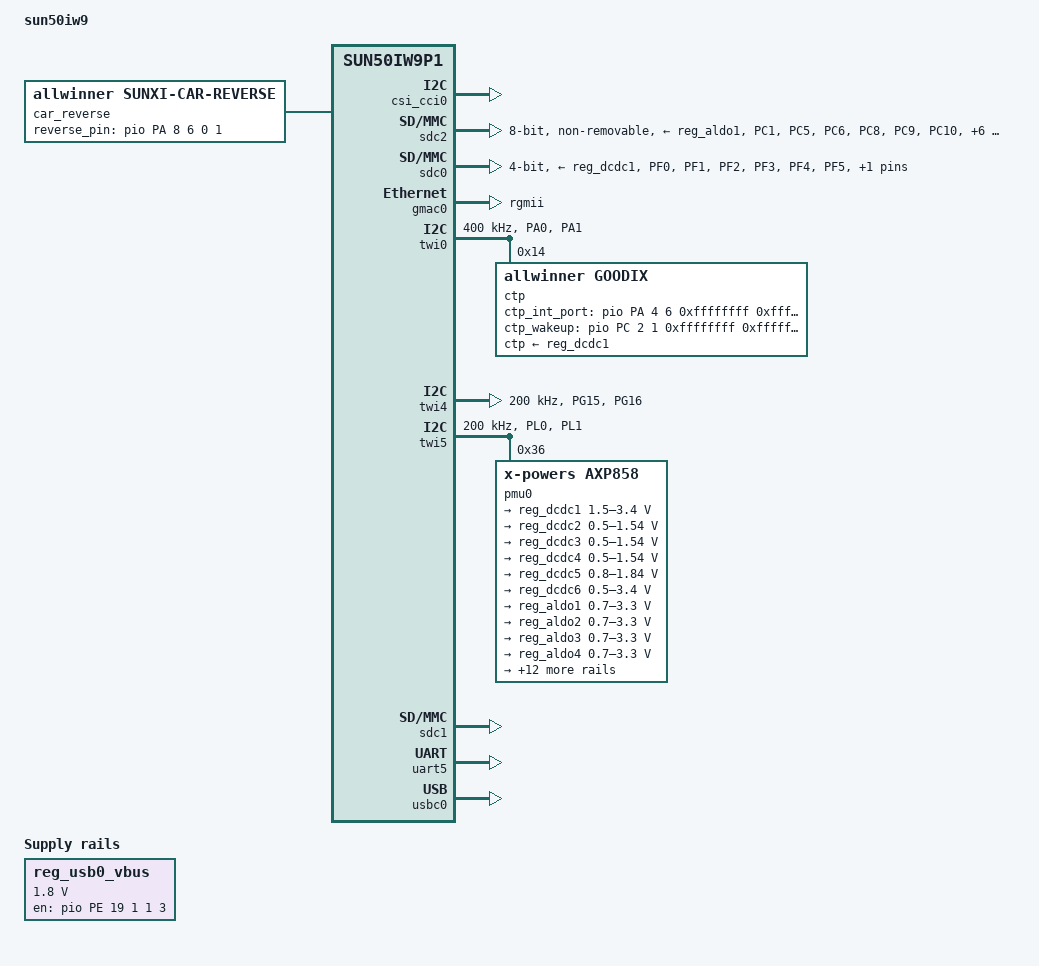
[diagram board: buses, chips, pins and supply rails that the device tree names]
/*
 * Allwinner Technology CO., Ltd. sun8iw19p1 soc board.
 *
 * soc board support.
 */

/dts-v1/;

#include "NL_sun50iw9p1.dtsi"

/{
	model = "sun50iw9";
	compatible = "allwinner,t507", "arm,sun50iw9p1";

	reg_usb0_vbus: usb0-vbus {
		compatible = "regulator-fixed";
		gpio = <&pio PE 19 1 1 3 1>;
		regulator-name = "usb-vbus";
		regulator-min-microvolt = <1800000>;//1800000
		regulator-max-microvolt = <1800000>;//1800000
		enable-active-high;
		status = "okay";
	};

	soc@03000000 {

		r_pio: pinctrl@07022000 {

			s_twi0_pins_a: s_twi0@0 {//PMU I2C
				allwinner,pins = "PL0", "PL1";
				allwinner,pname = "s_twi0_scl", "s_twi0_sda";
				allwinner,function = "s_twi0";
				allwinner,muxsel = <3>;
				allwinner,drive = <0>;
				allwinner,pull = <1>;
			};

			s_twi0_pins_b: s_twi0@1 {
				allwinner,pins = "PL0", "PL1";
				allwinner,function = "io_disabled";
				allwinner,muxsel = <7>;
				allwinner,drive = <0>;
				allwinner,pull = <0>;
			};
		};	

		pio: pinctrl@0300b000 {

			/* takes the debounce time in usec as argument */
			input-debounce = <0 0 0 0 0 0 1>;

			twi0_pins_a: twi0@0 {
				allwinner,pins = "PA0", "PA1";
				allwinner,pname = "twi0_scl", "twi0_sda";
				allwinner,function = "twi0";
				allwinner,muxsel = <4>;
				allwinner,drive = <0>;
				allwinner,pull = <0>;
			};

			twi0_pins_b: twi0@1 {
				allwinner,pins = "PA0", "PA1";
				allwinner,function = "io_disabled";
				allwinner,muxsel = <7>;
				allwinner,drive = <0>;
				allwinner,pull = <0>;
			};

			twi4_pins_a: twi4@0 {
				allwinner,pins = "PG15", "PG16";
				allwinner,pname = "twi4_scl", "twi4_sda";
				allwinner,function = "twi4";
				allwinner,muxsel = <5>;
				allwinner,drive = <0>;
				allwinner,pull = <0>;
			};

			twi4_pins_b: twi4@1 {
				allwinner,pins = "PG15", "PG16";
				allwinner,function = "io_disabled";
				allwinner,muxsel = <7>;
				allwinner,drive = <0>;
				allwinner,pull = <0>;
			};

			scr0_pins_a: scr0@0 {
				allwinner,pins = "PD17", "PD18", "PD14", "PD15", "PD16";
				allwinner,pname = "scr0_rst", "scr0_det", "scr0_vccen", "scr0_sck", "scr0_sda";
			};

			sdc0_pins_a: sdc0@0 {
				allwinner,pins = "PF0", "PF1", "PF2",
						 "PF3", "PF4", "PF5";
				allwinner,function = "sdc0";
				allwinner,muxsel = <2>;
				allwinner,drive = <3>;
				allwinner,pull = <1>;
			};

			sdc0_pins_c: sdc0@2 {
				allwinner,pins = "PF0", "PF1",
						 "PF3", "PF5";
				allwinner,function = "uart0_jtag";
				allwinner,muxsel = <3>;
				allwinner,drive = <1>;
				allwinner,pull = <1>;
			};



			sdc2_pins_a: sdc2@0 {
				allwinner,pins = "PC1", "PC5", "PC6",
						 "PC8", "PC9", "PC10", "PC11",
						 "PC13", "PC14", "PC15", "PC16";
				allwinner,function = "sdc2";
				allwinner,muxsel = <3>;
				allwinner,drive = <2>;
				allwinner,pull = <1>;
			};

			sdc2_pins_b: sdc2@1 {
				allwinner,pins = "PC0", "PC1", "PC5", "PC6",
						 "PC8", "PC9", "PC10", "PC11",
						 "PC13", "PC14", "PC15", "PC16";
				allwinner,function = "io_disabled";
				allwinner,muxsel = <7>;
				allwinner,drive = <1>;
				allwinner,pull = <1>;
			};

			sdc2_pins_c: sdc2@2 {
				allwinner,pins = "PC0";
				allwinner,function = "sdc2";
				allwinner,muxsel = <3>;
				allwinner,drive = <2>;
				allwinner,pull = <2>;
			};

			pwm0_pin_a: pwm0@0 {
				allwinner,pins = "PD28";
				allwinner,function = "pwm0";
				allwinner,muxsel = <0x02>;
				allwinner,drive = <0xffffffff>;
				allwinner,pull = <0>;
				allwinner,data = <0xffffffff>;
			};

			pwm0_pin_b: pwm0@1 {
				allwinner,pins = "PD28";
				allwinner,function = "io_disabled";
				allwinner,muxsel = <0x07>;
				allwinner,drive = <0xffffffff>;
				allwinner,pull = <0>;
				allwinner,data = <0xffffffff>;
			};
			pwm2_pin_a: pwm2@0 {
				allwinner,pins = "PI12";
				allwinner,function = "pwm2";
				allwinner,muxsel = <0x05>;
				allwinner,drive = <0xffffffff>;
				allwinner,pull = <0>;
				allwinner,data = <0xffffffff>;
			};

			pwm2_pin_b: pwm2@1 {
				allwinner,pins = "PI12";
				allwinner,function = "io_disabled";
				allwinner,muxsel = <0x07>;
				allwinner,drive = <0xffffffff>;
				allwinner,pull = <0>;
				allwinner,data = <0xffffffff>;
			};
		};
	
			/*--------------------------------------------------------------------------------
			vin (video input modules) configuration
			vind(x)_used: 0:disable 1:enable, main node for vin
			csi(x)_used: 0:disable 1:enable
			flash(x)_used: 0:disable 1:enable
			flash(x)_type: 0:FLASH_RELATING, 1:FLASH_EN_INDEPEND, 2:FLASH_POWER
			flash(x)_en: flash enable gpio, type = 0 of 1
			flash(x)_mode: flash mode gpio, type = 0 of 1
			flash(x)_flvdd: flash module io power handle string, pmu power supply, type = 2
			flash(x)_flvdd_vol: flash module io power voltage, pmu power supply, type = 2
			actuator(x)_used: 0:disable 1:enable
			actuator(x)_name: vcm name
			actuator(x)_slave: vcm iic slave address
			actuator(x)_af_pwdn: vcm power down gpio
			actuator(x)_afvdd: vcm power handle string, pmu power supply
			actuator(x)_afvdd_vol: vcm power voltage, pmu power supply
			sensor(x)_used: 0:disable 1:enable
			sensor(x)_isp_used 0:not use isp 1:use isp
			sensor(x)_fmt: 0:yuv 1:bayer raw rgb
			sensor(x)_stby_mode: 0:not shut down power at standby 1:shut down power at standby
			sensor(x)_vflip: flip in vertical direction 0:disable 1:enable
			sensor(x)_hflip: flip in horizontal direction 0:disable 1:enable
			sensor(x)_cameravdd-supply: camera module power handle string, pmu power supply
			sensor(x)_cameravdd_vol: camera module power voltage, pmu power supply
			sensor(x)_iovdd-supply: camera module io power handle string, pmu power supply
			sensor(x)_iovdd_vol: camera module io power voltage, pmu power supply
			sensor(x)_avdd-supply: camera module analog power handle string, pmu power supply
			sensor(x)_avdd_vol: camera module analog power voltage, pmu power supply
			sensor(x)_dvdd-supply: camera module core power handle string, pmu power supply
			sensor(x)_dvdd_vol: camera module core power voltage, pmu power supply
			sensor(x)_power_en: camera module power enable gpio
			sensor(x)_reset: camera module reset gpio
			sensor(x)_pwdn: camera module pwdn gpio
			fill voltage in uV, e.g. iovdd = 2.8V, sensorx_iovdd_vol = 2800000
			fill handle string as below:
			<&reg_bldo3>
			<&reg_bldo4>
			<&reg_bldo5>
			fill handle string "" when not using any pmu power supply
			vinc(x)_used: 0:disable 1:enable
			vinc(x)_sensor_list: use sensor list
			--------------------------------------------------------------------------------*/
			vind0:vind@0 {
			vind0_clk = <324000000>;
			status = "okay";

			csi_cci0:cci@0 {
				status = "okay";
			};
			sensor0:sensor@0 {
				device_type = "sensor0";
				sensor0_mname = "rn6864m_mipi";//4CH BT656
				sensor0_twi_cci_id = <0>;
				sensor0_twi_addr = <0x5a>;// 
				sensor0_mclk_id = <0>;
				sensor0_pos = "rear";
				sensor0_isp_used = <1>;
				sensor0_fmt = <0>;
				sensor0_stby_mode = <0>;
				sensor0_vflip = <1>;//00
				sensor0_hflip = <0>;//00
				sensor0_reset = <&pio PA 7 1 0 1 0>;//qwb change
				sensor0_pwdn  = <&pio PA 6 1 0 1 0>;//qwb change
				status	= "okay";
			};
		
			vinc0:vinc@0 {
				vinc0_csi_sel = <0>;
				vinc0_mipi_sel = <0>;
				vinc0_isp_sel = <0>;
				vinc0_isp_tx_ch = <0>;
				vinc0_rear_sensor_sel = <0>;
				vinc0_front_sensor_sel = <0>;
				vinc0_sensor_list = <0>;
				status = "okay";
			};
			vinc1:vinc@1 {
				vinc1_csi_sel = <0>;
				vinc1_mipi_sel = <0>;
				vinc1_isp_sel = <0>;
				vinc1_isp_tx_ch = <1>;
				vinc1_rear_sensor_sel = <0>;
				vinc1_front_sensor_sel = <0>;
				vinc1_sensor_list = <0>;
				status = "okay";
			};

		};

		car_reverse:car_reverse {
			compatible	= "allwinner,sunxi-car-reverse";
			tvd_id	= <0x0>;//0x1 qwb20210515
			screen_width = <1920>;//1920
			screen_height = <720>;//720
			rotation = <0x0>;//0x0
			source = <0x1>;//0x1
			oview = <0x0>;//0x0
			//reverse_pin = <&pio PE 19 6 0 1 0>;///
			reverse_pin = <&pio PA 8 6 0 1 0>;
			status		= "okay";//disabled okay
		};


				/*----------------------------------------------------------------------------------
		disp init configuration
		
		disp_mode			  (0:screen0<screen0,fb0>)
		screenx_output_type   (0:none; 1:lcd; 2:tv; 3:hdmi;5:vdpo)
		screenx_output_mode   (used for hdmi output, 0:480i 1:576i 2:480p 3:576p 4:720p50)
							  (5:720p60 6:1080i50 7:1080i60 8:1080p24 9:1080p50 10:1080p60)
		screenx_output_format (for hdmi, 0:RGB 1:yuv444 2:yuv422 3:yuv420)
		screenx_output_bits   (for hdmi, 0:8bit 1:10bit 2:12bit 2:16bit)
		screenx_output_eotf   (for hdmi, 0:reserve 4:SDR 16:HDR10 18:HLG)
		screenx_output_cs	  (for hdmi, 0:undefined  257:BT709 260:BT601  263:BT2020)
		screenx_output_dvi_hdmi (for hdmi, 0:undefined 1:dvi mode 2:hdmi mode)
		screen0_output_range   (for hdmi, 0:default 1:full 2:limited)
		screen0_output_scan    (for hdmi, 0:no data 1:overscan 2:underscan)
		screen0_output_aspect_ratio  (for hdmi, 8-same as original picture 9-4:3 10-16:9 11-14:9)
		fbx format			  (4:RGB655 5:RGB565 6:RGB556 7:ARGB1555 8:RGBA5551 9:RGB888 10:ARGB8888 12:ARGB4444)
		fbx pixel sequence	  (0:ARGB 1:BGRA 2:ABGR 3:RGBA)
		fb0_scaler_mode_enable(scaler mode enable, used FE)
		fbx_width,fbx_height  (framebuffer horizontal/vertical pixels, fix to output resolution while equal 0)
		lcdx_backlight		  (lcd init backlight,the range:[0,256],default:197
		lcdx_yy 			  (lcd init screen bright/contrast/saturation/hue, value:0~100, default:50/50/57/50)
		lcd0_contrast		  (LCD contrast, 0~100)
		lcd0_saturation 	  (LCD saturation, 0~100)
		lcd0_hue			  (LCD hue, 0~100)
		framebuffer software rotation setting:
		disp_rotation_used:   (0:disable; 1:enable,you must set fbX_width to lcd_y,
		set fbX_height to lcd_x)
		degreeX:			  (X:screen index; 0:0 degree; 1:90 degree; 3:270 degree)
		degreeX_Y:			  (X:screen index; Y:layer index 0~15; 0:0 degree; 1:90 degree; 3:270 degree)
		devX_output_type : config output type in bootGUI framework in UBOOT-2018.
						   (0:none; 1:lcd; 2:tv; 4:hdmi;)
		devX_output_mode : config output resolution(see include/video/sunxi_display2.h) of bootGUI framework in UBOOT-2018
		devX_screen_id	 : config display index of bootGUI framework in UBOOT-2018
		devX_do_hpd 	 : whether do hpd detectation or not in UBOOT-2018
		chn_cfg_mode	 : Hardware DE channel allocation config. 0:single display with 6
						   channel, 1:dual display with 4 channel in main display and 2 channel in second
						   display, 2:dual display with 3 channel in main display and 3 channel in second
						   in display.
		
		----------------------------------------------------------------------------------*/
			disp: disp@01000000 {
				disp_init_enable		 = <1>;
				disp_mode				 = <0>;
				
				screen0_output_type 	 = <1>;//lcd 
				screen0_output_mode 	 = <10>;//1080p60

				dev0_output_type		 = <1>;
				dev0_output_mode		 = <10>;
				dev0_screen_id			 = <0>;
				dev0_do_hpd 			 = <0>;
				def_output_dev			 = <0>;//0
								
				fb0_format				 = <0>;//0
				fb0_width				 = <1920>;
				fb0_height				 = <480>;//720	
				
				fb1_format			 	 = <0>;
				fb1_width				 = <1920>;
				fb1_height			 	 = <730>;
				
				chn_cfg_mode			 = <0>;//0:single display with 6· channel,
				
				disp_para_zone			 = <1>;
				/* VCC-LCD */
				dc1sw-supply = <&reg_sw>;
				/* VCC-LVDS and VCC-HDMI */
				bldo1-supply = <&reg_bldo1>;
				/* VCC-TV */
				cldo4-supply = <&reg_cldo4>;
			};
		
		/*----------------------------------------------------------------------------------
		;lcd0 configuration
		
		;lcd_if:			   0:hv(sync+de); 1:8080; 2:ttl; 3:lvds; 4:dsi; 5:edp; 6:extend dsi
		;lcd_hv_if			   0:Parallel RGB; 8:Serial RGB; 10:Dummy RGB; 11: RGB Dummy;12:CCIR656
		;lcd_hv_clk_phase	   0:0 degree;1:90 degree;2:180 degree;3:270 degree
		;lcd_hv_sync_polarity  0:vs low,hs low; 1:vs high,hslow; 2:vs low,hs high; 3:vs high,hs high
		;lcd_hv_syuv_seq	   0:YUYV; 1:YVYU; 2:UYVY; 3:VYUY
		;lcd_cpu_if 		   0:18bit/1 cycle parallel(RGB666); 4:16bit/1cycle parallel (RGB565)
		;					   6:18bit/3 cycle parallel(RGB666); 7:16bit/2cycle parallel (RGB565)
		;lcd_cpu_te 		   0:frame auto trigger; 1:frame triggered by te rising edge; 2:frame triggered by te falling edge;
		;lcd_dsi_if 		   0:video mode; 1: Command mode; 2:video burst mode
		;lcd_dsi_te 		   0:frame auto trigger; 1:frame triggered by te rising edge; 2:frame triggered by te falling edge;
		;lcd_x: 			   lcd horizontal resolution
		;lcd_y: 			   lcd vertical resolution
		;lcd_width: 		   width of lcd in mm
		;lcd_height:		   height of lcd in mm
		;lcd_dclk_freq: 	   in MHZ unit
		;lcd_pwm_freq:		   in HZ unit
		;lcd_pwm_pol:		   lcd backlight PWM polarity
		;lcd_pwm_max_limit	   lcd backlight PWM max limit(<=255)
		;lcd_hbp:			   hsync back porch(pixel) + hsync plus width(pixel);
		;lcd_ht:			   hsync total cycle(pixel)
		;lcd_vbp:			   vsync back porch(line) + vysnc plus width(line)
		;lcd_vt:			   vysnc total cycle(line)
		;lcd_hspw:			   hsync plus width(pixel)
		;lcd_vspw:			   vysnc plus width(pixel)
		;lcd_lvds_if:		   0:single link;  1:dual link
		;lcd_lvds_colordepth:  0:8bit; 1:6bit
		;lcd_lvds_mode: 	   0:NS mode; 1:JEIDA mode
		;lcd_frm:			   0:disable; 1:enable rgb666 dither; 2:enable rgb656 dither
		;lcd_io_phase:		   0:noraml; 1:intert phase(0~3bit: vsync phase; 4~7bit:hsync phase;
		;					   8~11bit:dclk phase; 12~15bit:de phase)
		;lcd_gamma_en		   lcd gamma correction enable
		;lcd_bright_curve_en   lcd bright curve correction enable
		;lcd_cmap_en		   lcd color map function enable
		;deu_mode			   0:smoll lcd screen; 1:large lcd screen(larger than 10inch)
		;lcdgamma4iep:		   Smart Backlight parameter, lcd gamma vale * 10;
		;					   decrease it while lcd is not bright enough; increase while lcd is too bright
		;smart_color		   90:normal lcd screen 65:retina lcd screen(9.7inch)
		;Pin setting for special function ie.LVDS, RGB data or vsync
		;	name(donot care) = port:PD12<pin function><pull up or pull down><drive ability><output level>
		;Pin setting for gpio:
		;	lcd_gpio_X	   = port:PD12<pin function><pull up or pull down><drive ability><output level>
		;Pin setting for backlight enable pin
		;	lcd_bl_en	  = port:PD12<pin function><pull up or pull down><drive ability><output level>
		;fsync setting, pulse to csi
		;lcd_fsync_en		   (0:disable fsync,1:enable)
		;lcd_fsync_act_time    (active time of fsync, unit:pixel)
		;lcd_fsync_dis_time    (disactive time of fsync, unit:pixel)
		;lcd_fsync_pol		   (0:positive;1:negative)
		;gpio config: <&pio for cpu or &r_pio for cpus, port, port num, pio function,
		;pull up or pull down(default 0), driver level(default 1), data>
		;For dual link lvds: use lvds2link_pins_a  and lvds2link_pins_b instead
		;For rgb24: use rgb24_pins_a  and rgb24_pins_b instead
		;For lvds1: use lvds1_pins_a  and lvds1_pins_b instead
		;For lvds0: use lvds0_pins_a  and lvds0_pins_b instead
		;LCD 应该是针对背光的一些参数
		
		;----------------------------------------------------------------------------------*/
		lcd0: lcd0@01c0c000 {
		
			lcd_used			= <1>;
		
			lcd_driver_name 	= "default_lcd";
			
			lcd_backlight		= <0>;			
			lcd_if				= <3>;//lvds
		
			lcd_x				= <1920>;
			lcd_y				= <722>;//720
			lcd_width			= <292>;
			lcd_height			= <109>;
			lcd_dclk_freq		= <149>;
		
			lcd_pwm_used		= <1>;
			lcd_pwm_ch			= <0>;//
			lcd_pwm_freq		= <1200000>;//1.2Mhz
			lcd_pwm_pol 		= <1>;
			lcd_pwm_max_limit	= <255>;
		
			lcd_hbp 			= <148>;
			lcd_ht				= <2200>;//
			lcd_hspw			= <44>;
			lcd_vbp 			= <36>;
			lcd_vt				= <960>;//1080vs1125  //720vs960
			lcd_vspw			= <5>;
			
			lcd_lvds_if 		= <1>;
			lcd_lvds_colordepth = <0>;
			lcd_lvds_mode		= <0>;//0
			lcd_frm 			= <1>;//0
			lcd_hv_clk_phase	= <0>;
			lcd_hv_sync_polarity= <0>;
			lcd_gamma_en		= <1>;
			lcd_bright_curve_en = <0>;
			lcd_cmap_en 		= <1>;//0
			lcd_fsync_en		= <0>;
			lcd_fsync_act_time	= <1000>;
			lcd_fsync_dis_time	= <1000>;
			lcd_fsync_pol		= <0>;
			dev0_screen_id		= <0>;//
			deu_mode			= <1>;//1
			lcdgamma4iep		= <200>;//22
			smart_color 		= <65>;//65
		
			lcd_pin_power = "bldo1";
		
			lcd_power = "dc1sw";
			lcd_bl_en		 = <&pio PA 12 1 0 3 1>;
			pinctrl-0 = <&lvds2link_pins_a>;
			pinctrl-1 = <&lvds2link_pins_a>;
			lcd_backlight		= <120>;//
		
		};


		/*----------------------------------------------------------------------------------
		;tv configuration
		;dac_src			(dac no,support dac_src0~dac_src3,dac num max is 4)
		;interface			(interface type,1<->cvbs,2<->YPBPR,4<->SVIDEO)
		;dac_type			(0<->composite,1<->luma,2<->chroma,3<->reserved,4<->y/green,
		;					 5<->u/pb/blue,6<->v/pr/red)
		;NOTE:				tv0,tv1 can not use the same dac_src.
		;---------------------------------------------------------------------------------*/

		sdc2: sdmmc@04022000 {//EMMC
			pinctrl-0 = <&sdc2_pins_a &sdc2_pins_c>;
			non-removable;
			bus-width = <8>;
			mmc-ddr-1_8v;
			mmc-hs200-1_8v;
			mmc-hs400-1_8v;
			no-sdio;
			no-sd;
			cap-mmc-highspeed;
			sunxi-power-save-mode;
			sunxi-dis-signal-vol-sw;
			max-frequency = <100000000>;
			ctl-spec-caps = <0x8>;
			vmmc-supply = <&reg_aldo1>;
			vqmmc-supply = <&reg_dcdc1>;
			status = "okay";
		};

		sdc0: sdmmc@04020000 {//SD carD
			pinctrl-0 = <&sdc0_pins_a>;
			bus-width = <4>;
			cd-gpios = <&pio PF 6 6 1 3 0xffffffff>;
			cd-used-24M;
			/*non-removable;*/
			/*broken-cd;*/
			/*cd-inverted*/
			/*data3-detect;*/
			cap-sd-highspeed;
			sd-uhs-sdr50;
			sd-uhs-ddr50;
			sd-uhs-sdr104;
			no-sdio;
			no-mmc;
			sunxi-power-save-mode;
			sunxi-signal-vol-sw-without-pmu;
			/*sunxi-dis-signal-vol-sw;*/
			max-frequency = <150000000>;
			ctl-spec-caps = <0x8>;
			vmmc-supply = <&reg_dcdc1>;
			vqmmc33sw-supply = <&reg_dcdc1>;
			vdmmc33sw-supply = <&reg_dcdc1>;
			vqmmc18sw-supply = <&reg_aldo2>;
			vdmmc18sw-supply = <&reg_aldo2>;
			status = "okay";
		};


		gmac0: eth@05020000{
			phy-mode = "rgmii";
			phy-rst = <&pio PI 6 1 1 1 0>;
			use_ephy25m = <1>;
			tx-delay = <7>;
			rx-delay = <0>;
			gmac-power0-supply = <&reg_cldo3>;
			gmac-power1-supply;
			gmac-power2-supply;
			gmac-power0-vol = <3300000>;
			gmac-power1-vol;
			gmac-power2-vol;
			status = "okay";
		};

		twi0: twi@0x05002000{
			clock-frequency = <400000>;
			pinctrl-0 = <&twi0_pins_a>;
			pinctrl-1 = <&twi0_pins_b>;
			twi-supply = <&reg_dcdc1>;
			status = "okay";

			ctp {
				compatible = "allwinner,goodix";
				reg = <0x14>;//0x5d
				device_type = "ctp";
				ctp_name ="gt9xxnew_ts";
				status = "okay";
				ctp_twi_id = <0x0>;
				ctp_twi_addr = <0x14>;//0x5d 0x14
				//ctp_screen_max_x = <0x780>;//0x2D0
				//ctp_screen_max_y = <0x2D0>;//0x2D0 0x780 
				ctp_revert_x_flag = <0x0>; //0x0
				ctp_revert_y_flag = <0x0>;//0x0
				ctp_exchange_x_y_flag = <0x0>;//0x0
				ctp_int_port = <&pio PA 4 6 0xffffffff 0xffffffff 0>;//PA 4
				ctp_wakeup = <&pio PC 2 1 0xffffffff 0xffffffff 1>;//PC 2
				ctp-supply = <&reg_dcdc1>;
				ctp_power_ldo_vol = <3300>;
			};
		
		};

		twi4: twi@0x05003000{
			clock-frequency = <200000>;
			pinctrl-0 = <&twi4_pins_a>;
			pinctrl-1 = <&twi4_pins_b>;
			status = "okay";
		};

		twi5: twi@0x07081400{
			clock-frequency = <200000>;
			pinctrl-0 = <&s_twi0_pins_a>;
			pinctrl-1 = <&s_twi0_pins_b>;
			status = "okay";
		};

		pwm0: pwm0@0300a000 {
			pinctrl-names = "active", "sleep";
			pinctrl-0 = <&pwm0_pin_a>;
			pinctrl-1 = <&pwm0_pin_b>;
		};

		pwm2: pwm2@0300a000 {
			pinctrl-names = "active", "sleep";
			pinctrl-0 = <&pwm2_pin_a>;
			pinctrl-1 = <&pwm2_pin_b>;
		};

		sdc1: sdmmc@04021000 {
			status = "okay";
		};

		uart5: uart@05001400 {
			uart5_type = <2>;
			status = "okay";
		};


		usbc0:usbc0@0 {
			device_type		= "usbc0";
			usb_port_type		= <0x2>;
			usb_detect_type		= <0x1>;
			usb_detect_mode		= <0x0>;
			usb_id_gpio			= <&pio PH 5 0 1 0xffffffff 0xffffffff>;//
			usb_det_vbus_gpio	= <&pio PH 6 0 1 0xffffffff 0xffffffff>;//

			usb_regulator_io	= "nocare";
			usb_wakeup_suspend	= <0x0>;
			usb_luns		= <0x3>;
			usb_serial_unique	= <0x0>;
			usb_serial_number	= "20080411";
			status			= "okay";
		};

		ehci0:ehci0-controller@0x05101000 {
			/*drvvbus-supply = <&reg_usb0_vbus>;*/
		};

		ohci0:ohci0-controller@0x05101400 {
			/*drvvbus-supply = <&reg_usb0_vbus>;*/
		};


	};
	gpu: gpu@0x01800000 {
		gpu_idle = <0>;
		dvfs_status = <0>;
		independent_power = <1>;
		operating-points = <
                        /* KHz   uV */
			648000 960000
			600000 900000
			552000 880000
			504000 860000				
		>;
		gpu-supply = <&reg_dcdc4>;
	};

};

&aliases {
	pmu0 = &pmu0;
	standby_param = &standby_param;
};

&cpu_trips{
	cpu_crit: cpu_crit@0 {
		temperature = <120000>;
		type = "critical";
		hysteresis = <0>;
	};
};

&twi5 {
	no_suspend = <1>;
	status = "okay";

	pmu0: pmu@36{
		compatible = "x-powers,axp858";
		reg = <0x36>;
		interrupt-parent = <&nmi_intc>;
		interrupts = <0 IRQ_TYPE_LEVEL_LOW>;
		interrupt-controller;
		#interrupt-cells = <1>;

		wakeup-source;

		powerkey0: powerkey@0{
			status = "okay";//disabled  okay
			compatible = "x-powers,axp2101-pek";
			pmu_powkey_off_time = <6000>;
			pmu_powkey_off_func = <0>;
			pmu_powkey_off_en = <1>;
			pmu_powkey_long_time = <1500>;
			pmu_powkey_on_time = <1000>;
			wakeup_rising;
			wakeup_falling;
		};

		standby_param: standby_param {
			vcc-io = <0x1>;
			vdd-cpua = <0x2>;
			vdd-sys = <0x4>;
			vdd-res1 = <0x40>;
			vcc-pll = <0x80>;
		};

		regulator0: regulators{
			reg_dcdc1: dcdc1 {
				regulator-name = "axp858-dcdc1";
				regulator-min-microvolt = <1500000>;//1500000 by defaut
				regulator-max-microvolt = <3400000>;
				regulator-step-delay-us = <25>;//
				regulator-final-delay-us = <50>;//50 by defaut
				regulator-always-on;
			};

			reg_dcdc2: dcdc2 {
				regulator-name = "axp858-dcdc2";
				regulator-min-microvolt = <500000>;
				regulator-max-microvolt = <1540000>;
				regulator-step-delay-us = <25>;
				regulator-final-delay-us = <50>;
				regulator-ramp-delay = <6001>; /* FIXME */
				regulator-always-on;
			};

			reg_dcdc3: dcdc3 {
				regulator-name = "axp858-dcdc3";
				regulator-min-microvolt = <500000>;
				regulator-max-microvolt = <1540000>;
				regulator-step-delay-us = <25>;
				regulator-final-delay-us = <50>;
				regulator-always-on;
			};

			reg_dcdc4: dcdc4 {
				regulator-name = "axp858-dcdc4";
				regulator-min-microvolt = <500000>;
				regulator-max-microvolt = <1540000>;
				regulator-step-delay-us = <25>;
				regulator-final-delay-us = <50>;
				regulator-enable-ramp-delay = <1000>;
			};

			reg_dcdc5: dcdc5 {
				regulator-name = "axp858-dcdc5";
				regulator-min-microvolt = <800000>;
				regulator-max-microvolt = <1840000>;
				regulator-step-delay-us = <25>;
				regulator-final-delay-us = <50>;
				regulator-always-on;
			};

			reg_dcdc6: dcdc6 {
				regulator-name = "axp858-dcdc6";
				regulator-min-microvolt = <500000>;
				regulator-max-microvolt = <3400000>;
				regulator-step-delay-us = <25>;
				regulator-final-delay-us = <50>;
			};

			reg_aldo1: aldo1 {
				regulator-name = "axp858-aldo1";
				regulator-min-microvolt = <700000>;
				regulator-max-microvolt = <3300000>;
				regulator-step-delay-us = <25>;
				regulator-final-delay-us = <50>;
				regulator-always-on;
			};

			reg_aldo2: aldo2 {
				regulator-name = "axp858-aldo2";
				regulator-min-microvolt = <700000>;
				regulator-max-microvolt = <3300000>;
				regulator-step-delay-us = <25>;
				regulator-final-delay-us = <50>;
				regulator-always-on;
			};

			reg_aldo3: aldo3 {
				regulator-name = "axp858-aldo3";
				regulator-min-microvolt = <700000>;
				regulator-max-microvolt = <3300000>;
				regulator-step-delay-us = <25>;
				regulator-final-delay-us = <50>;
			};

			reg_aldo4: aldo4 {
				regulator-name = "axp858-aldo4";
				regulator-min-microvolt = <700000>;
				regulator-max-microvolt = <3300000>;
				regulator-step-delay-us = <25>;
				regulator-final-delay-us = <50>;
				regulator-always-on;
			};

			reg_aldo5: aldo5 {
				regulator-name = "axp858-aldo5";
				regulator-min-microvolt = <700000>;
				regulator-max-microvolt = <3300000>;
				regulator-step-delay-us = <25>;
				regulator-final-delay-us = <50>;
			};

			reg_bldo1: bldo1 {
				regulator-name = "axp858-bldo1";
				regulator-min-microvolt = <700000>;
				regulator-max-microvolt = <3300000>;
				regulator-step-delay-us = <25>;
				regulator-final-delay-us = <50>;
			};

			reg_bldo2: bldo2 {
				regulator-name = "axp858-bldo2";
				regulator-min-microvolt = <700000>;
				regulator-max-microvolt = <3300000>;
				regulator-step-delay-us = <25>;
				regulator-final-delay-us = <50>;
			};

			reg_bldo3: bldo3 {
				regulator-name = "axp858-bldo3";
				regulator-min-microvolt = <700000>;
				regulator-max-microvolt = <3300000>;
				regulator-step-delay-us = <25>;
				regulator-final-delay-us = <50>;
			};

			reg_bldo4: bldo4 {
				regulator-name = "axp858-bldo4";
				regulator-min-microvolt = <700000>;
				regulator-max-microvolt = <3300000>;
				regulator-step-delay-us = <25>;
				regulator-final-delay-us = <50>;
			};

			reg_bldo5: bldo5 {
				regulator-name = "axp858-bldo5";
				regulator-min-microvolt = <700000>;
				regulator-max-microvolt = <3300000>;
				regulator-step-delay-us = <25>;
				regulator-final-delay-us = <50>;
			};

			reg_cldo1: cldo1 {
				regulator-name = "axp858-cldo1";
				regulator-min-microvolt = <700000>;
				regulator-max-microvolt = <3300000>;
				regulator-step-delay-us = <25>;
				regulator-final-delay-us = <50>;
				regulator-always-on;//qwb007
			};

			reg_cldo2: cldo2 {
				regulator-name = "axp858-cldo2";
				regulator-min-microvolt = <700000>;
				regulator-max-microvolt = <3300000>;
				regulator-step-delay-us = <25>;
				regulator-final-delay-us = <50>;
			};

			reg_cldo3: cldo3 {
				regulator-name = "axp858-cldo3";
				regulator-min-microvolt = <700000>;
				regulator-max-microvolt = <3300000>;
				regulator-step-delay-us = <25>;
				regulator-final-delay-us = <50>;
			};

			reg_cldo4: cldo4 {
				regulator-name = "axp858-cldo4";
				regulator-min-microvolt = <700000>;
				regulator-max-microvolt = <4200000>;
				regulator-step-delay-us = <25>;
				regulator-final-delay-us = <50>;
			};

			reg_cpusldo: cpusldo {
				regulator-name = "axp858-cpusldo";
				regulator-min-microvolt = <700000>;
				regulator-max-microvolt = <1400000>;
				regulator-step-delay-us = <25>;
				regulator-final-delay-us = <50>;
			};

			reg_sw: sw {
				regulator-name = "axp858-sw";
			};
		};

		virtual-dcdc1 {
			compatible = "xpower-vregulator,dcdc1";
			dcdc1-supply = <&reg_dcdc1>;
		};

		virtual-dcdc2 {
			compatible = "xpower-vregulator,dcdc2";
			dcdc2-supply = <&reg_dcdc2>;
		};

		virtual-dcdc3 {
			compatible = "xpower-vregulator,dcdc3";
			dcdc3-supply = <&reg_dcdc3>;
		};

		virtual-dcdc4 {
			compatible = "xpower-vregulator,dcdc4";
			dcdc4-supply = <&reg_dcdc4>;
		};

		virtual-dcdc5 {
			compatible = "xpower-vregulator,dcdc5";
			dcdc5-supply = <&reg_dcdc5>;
		};

		virtual-dcdc6 {
			compatible = "xpower-vregulator,dcdc6";
			dcdc6-supply = <&reg_dcdc6>;
		};

		virtual-aldo1 {
			compatible = "xpower-vregulator,aldo1";
			aldo1-supply = <&reg_aldo1>;
		};

		virtual-aldo2 {
			compatible = "xpower-vregulator,aldo2";
			aldo2-supply = <&reg_aldo2>;
		};

		virtual-aldo3 {
			compatible = "xpower-vregulator,aldo3";
			aldo3-supply = <&reg_aldo3>;
		};

		virtual-aldo4 {
			compatible = "xpower-vregulator,aldo4";
			aldo4-supply = <&reg_aldo4>;
		};

		virtual-aldo5 {
			compatible = "xpower-vregulator,aldo5";
			aldo5-supply = <&reg_aldo5>;
		};

		virtual-bldo1 {
			compatible = "xpower-vregulator,bldo1";
			bldo1-supply = <&reg_bldo1>;
		};

		virtual-bldo2 {
			compatible = "xpower-vregulator,bldo2";
			bldo2-supply = <&reg_bldo2>;
		};

		virtual-bldo3 {
			compatible = "xpower-vregulator,bldo3";
			bldo3-supply = <&reg_bldo3>;
		};

		virtual-bldo4 {
			compatible = "xpower-vregulator,bldo4";
			bldo4-supply = <&reg_bldo4>;
		};

		virtual-bldo5 {
			compatible = "xpower-vregulator,bldo5";
			bldo5-supply = <&reg_bldo5>;
		};

		virtual-cldo1 {
			compatible = "xpower-vregulator,cldo1";
			cldo1-supply = <&reg_cldo1>;
		};

		virtual-cldo2 {
			compatible = "xpower-vregulator,cldo2";
			cldo2-supply = <&reg_cldo2>;
		};

		virtual-cldo3 {
			compatible = "xpower-vregulator,cldo3";
			cldo3-supply = <&reg_cldo3>;
		};

		virtual-cldo4 {
			compatible = "xpower-vregulator,cldo4";
			cldo4-supply = <&reg_cldo4>;
		};

	};
	
};



&cpu0 {
	cpu-supply = <&reg_dcdc2>;
};


